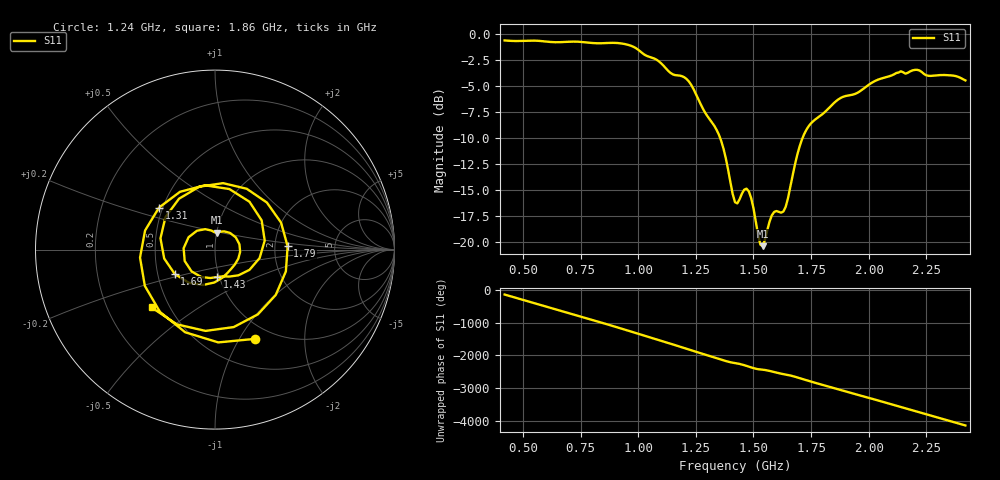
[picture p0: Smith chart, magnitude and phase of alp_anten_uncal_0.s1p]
#  HZ  S  RI  R  50.00
! Rohde & Schwarz Vector Network Analyzer
! Rohde-Schwarz,ZNB8-4Port,REDACTED,3.12
! Created: UTC 3/17/2026, 6:26:27 PM
! zx75bp-1450-s
! freq[Hz]  re:S11  im:S11
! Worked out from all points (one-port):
!   201 points, 420 MHz to 2.42 GHz, reference 50 ohm
!   lowest |S11| = -20.4 dB at 1.54 GHz (marker M1), VSWR 1.21, Z = 49.9 + j9.56 ohm
!   |S11| at or under -10 dB: 1.356 GHz to 1.713 GHz (357.5 MHz wide, 23.3 % of centre)
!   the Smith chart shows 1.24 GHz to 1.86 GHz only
!   S11 on the Smith chart (normalised r, x): 1.24 GHz: 0.83, -1.17; 1.31 GHz: 0.48, +0.26; 1.43 GHz: 0.98, -0.31; 1.69 GHz: 0.61, -0.18; 1.79 GHz: 2.36, +0.10; 1.86 GHz: 0.40, -0.33
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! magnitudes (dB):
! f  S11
! 420 MHz  -0.6
! 670 MHz  -0.7
! 920 MHz  -0.8
! 990 MHz  -1.3
! 1.17 GHz  -3.9
! 1.21 GHz  -4.3
! 1.24 GHz  -5.3
! 1.31 GHz  -8.2
! 1.36 GHz  -10.3
! 1.42 GHz  -16.2
! 1.43 GHz  -16.3
! 1.46 GHz  -15.0
! 1.48 GHz  -15.1
! 1.5 GHz  -16.7
! 1.53 GHz  -20.3
! 1.54 GHz  -20.4
! 1.58 GHz  -17.4
! 1.64 GHz  -16.6
! 1.67 GHz  -13.6
! 1.69 GHz  -11.6
! 1.73 GHz  -9.2
! 1.79 GHz  -7.8
! 1.86 GHz  -6.4
! 1.92 GHz  -5.9
! 2.04 GHz  -4.4
! 2.17 GHz  -3.7
! 2.21 GHz  -3.4
! 2.42 GHz  -4.4
